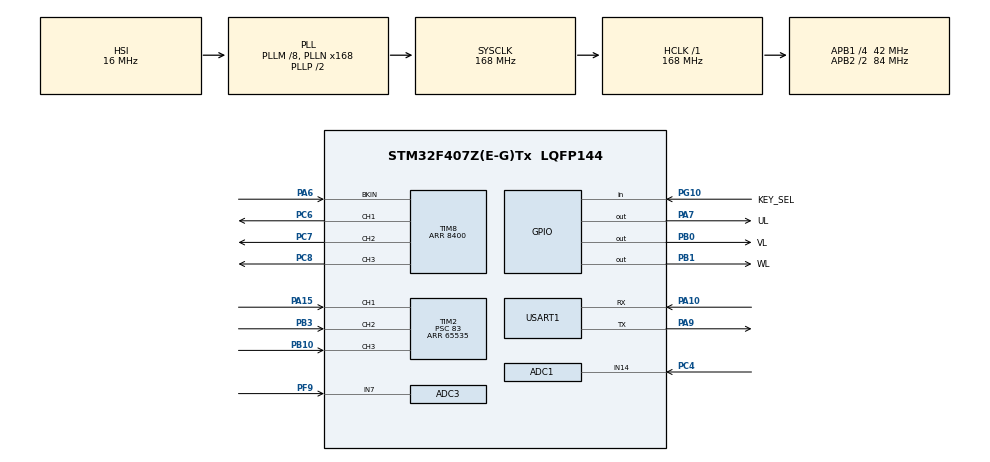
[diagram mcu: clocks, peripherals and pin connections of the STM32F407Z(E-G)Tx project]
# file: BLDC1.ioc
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ADC1.Channel-0\#ChannelRegularConversion=ADC_CHANNEL_14
ADC1.DMAContinuousRequests=ENABLE
ADC1.NbrOfConversionFlag=1
ADC1.Rank-0\#ChannelRegularConversion=1
ADC1.SamplingTime-0\#ChannelRegularConversion=ADC_SAMPLETIME_3CYCLES
ADC1.master=1
ADC3.Channel-0\#ChannelRegularConversion=ADC_CHANNEL_7
ADC3.DMAContinuousRequests=ENABLE
ADC3.NbrOfConversionFlag=1
ADC3.Rank-0\#ChannelRegularConversion=1
ADC3.SamplingTime-0\#ChannelRegularConversion=ADC_SAMPLETIME_3CYCLES
Dma.ADC1.1.Direction=DMA_PERIPH_TO_MEMORY
Dma.ADC1.1.FIFOMode=DMA_FIFOMODE_DISABLE
Dma.ADC1.1.Instance=DMA2_Stream0
Dma.ADC1.1.MemDataAlignment=DMA_MDATAALIGN_HALFWORD
Dma.ADC1.1.MemInc=DMA_MINC_ENABLE
Dma.ADC1.1.Mode=DMA_CIRCULAR
Dma.ADC1.1.PeriphDataAlignment=DMA_PDATAALIGN_HALFWORD
Dma.ADC1.1.PeriphInc=DMA_PINC_DISABLE
Dma.ADC1.1.Priority=DMA_PRIORITY_HIGH
Dma.ADC3.0.Direction=DMA_PERIPH_TO_MEMORY
Dma.ADC3.0.FIFOMode=DMA_FIFOMODE_DISABLE
Dma.ADC3.0.Instance=DMA2_Stream1
Dma.ADC3.0.MemDataAlignment=DMA_MDATAALIGN_HALFWORD
Dma.ADC3.0.MemInc=DMA_MINC_ENABLE
Dma.ADC3.0.Mode=DMA_CIRCULAR
Dma.ADC3.0.PeriphDataAlignment=DMA_PDATAALIGN_HALFWORD
Dma.ADC3.0.PeriphInc=DMA_PINC_DISABLE
Dma.ADC3.0.Priority=DMA_PRIORITY_HIGH
Dma.Request0=ADC3
Dma.Request1=ADC1
Mcu.Family=STM32F4
Mcu.Name=STM32F407Z(E-G)Tx
Mcu.Package=LQFP144
NVIC.DMA2_Stream0_IRQn=true\:0\:0\:false\:false\:true\:false\:true\:true
NVIC.DMA2_Stream1_IRQn=true\:0\:0\:false\:false\:true\:false\:true\:true
NVIC.EXTI15_10_IRQn=true\:0\:0\:false\:false\:true\:true\:true\:true
NVIC.PriorityGroup=NVIC_PRIORITYGROUP_4
NVIC.TIM2_IRQn=true\:0\:0\:false\:false\:true\:true\:true\:true
NVIC.TIM3_IRQn=true\:0\:0\:false\:false\:true\:true\:true\:true
NVIC.TIM8_BRK_TIM12_IRQn=true\:0\:0\:false\:false\:true\:true\:true\:true
NVIC.USART1_IRQn=true\:0\:0\:false\:false\:true\:true\:true\:true
PA10.Mode=Asynchronous
PA10.Signal=USART1_RX
PA13.Mode=Serial_Wire
PA13.Signal=SYS_JTMS-SWDIO
PA14.Mode=Serial_Wire
PA14.Signal=SYS_JTCK-SWCLK
PA15.GPIO_Speed=GPIO_SPEED_FREQ_HIGH
PA15.Signal=S_TIM2_CH1_ETR
PA6.Mode=Activate-Break-Input
PA6.Signal=TIM8_BKIN
PA7.GPIO_Label=UL
PA7.GPIO_PuPd=GPIO_PULLUP
PA7.GPIO_Speed=GPIO_SPEED_FREQ_VERY_HIGH
PA7.Signal=GPIO_Output
PA9.Mode=Asynchronous
PA9.Signal=USART1_TX
PB0.GPIO_Label=VL
PB0.GPIO_PuPd=GPIO_PULLUP
PB0.GPIO_Speed=GPIO_SPEED_FREQ_VERY_HIGH
PB0.Signal=GPIO_Output
PB1.GPIO_Label=WL
PB1.GPIO_PuPd=GPIO_PULLUP
PB1.GPIO_Speed=GPIO_SPEED_FREQ_VERY_HIGH
PB1.Signal=GPIO_Output
PB10.GPIO_Speed=GPIO_SPEED_FREQ_HIGH
PB10.Signal=S_TIM2_CH3
PB3.GPIO_Speed=GPIO_SPEED_FREQ_HIGH
PB3.Signal=S_TIM2_CH2
PC4.Signal=ADCx_IN14
PC6.GPIO_Speed=GPIO_SPEED_FREQ_VERY_HIGH
PC6.Signal=S_TIM8_CH1
PC7.GPIO_Speed=GPIO_SPEED_FREQ_VERY_HIGH
PC7.Signal=S_TIM8_CH2
PC8.GPIO_Speed=GPIO_SPEED_FREQ_VERY_HIGH
PC8.Signal=S_TIM8_CH3
PF9.Mode=IN7
PF9.Signal=ADC3_IN7
PG10.GPIO_Label=KEY_SEL
PG10.GPIO_ModeDefaultEXTI=GPIO_MODE_IT_FALLING
PG10.GPIO_PuPd=GPIO_PULLUP
PG10.Signal=SharedStack_PG10
PG10.Stacked=true
PH0-OSC_IN.Mode=HSE-External-Oscillator
PH0-OSC_IN.Signal=RCC_OSC_IN
PH1-OSC_OUT.Mode=HSE-External-Oscillator
PH1-OSC_OUT.Signal=RCC_OSC_OUT
ProjectManager.HeapSize=0x400
ProjectManager.StackSize=0x600
ProjectManager.TargetToolchain=STM32CubeIDE
RCC.48MHZClocksFreq_Value=84000000
RCC.AHBFreq_Value=168000000
RCC.APB1CLKDivider=RCC_HCLK_DIV4
RCC.APB1Freq_Value=42000000
RCC.APB1TimFreq_Value=84000000
RCC.APB2CLKDivider=RCC_HCLK_DIV2
RCC.APB2Freq_Value=84000000
RCC.APB2TimFreq_Value=168000000
RCC.CortexFreq_Value=168000000
RCC.HCLKFreq_Value=168000000
RCC.HSE_VALUE=25000000
RCC.HSI_VALUE=16000000
RCC.LSE_VALUE=32768
RCC.PLLM=8
RCC.PLLN=168
RCC.SYSCLKFreq_VALUE=168000000
RCC.SYSCLKSource=RCC_SYSCLKSOURCE_PLLCLK
RCC.VCOOutputFreq_Value=336000000
SH.ADCx_IN14.0=ADC1_IN14,IN14
SH.S_TIM2_CH1_ETR.0=TIM2_CH1,Input_Capture1_from_TI1
SH.S_TIM2_CH2.0=TIM2_CH2,Input_Capture2_from_TI2
SH.S_TIM2_CH3.0=TIM2_CH3,Input_Capture3_from_TI3
SH.S_TIM8_CH1.0=TIM8_CH1,PWM Generation1 CH1
SH.S_TIM8_CH2.0=TIM8_CH2,PWM Generation2 CH2
SH.S_TIM8_CH3.0=TIM8_CH3,PWM Generation3 CH3
SH.SharedStack_PG10.0=GPIO_Input+0
SH.SharedStack_PG10.1=GPIO_EXTI10
TIM2.AutoReloadPreload=TIM_AUTORELOAD_PRELOAD_ENABLE
TIM2.Channel-Input_Capture1_from_TI1=TIM_CHANNEL_1
TIM2.Channel-Input_Capture2_from_TI2=TIM_CHANNEL_2
TIM2.Channel-Input_Capture3_from_TI3=TIM_CHANNEL_3
TIM2.ICPolarity_CH1=TIM_INPUTCHANNELPOLARITY_BOTHEDGE
TIM2.ICPolarity_CH2=TIM_INPUTCHANNELPOLARITY_BOTHEDGE
TIM2.ICPolarity_CH3=TIM_INPUTCHANNELPOLARITY_BOTHEDGE
TIM2.Period=65535
TIM2.Prescaler=83
TIM3.AutoReloadPreload=TIM_AUTORELOAD_PRELOAD_ENABLE
TIM3.Period=999
TIM3.Prescaler=83
TIM8.AutoReloadPreload=TIM_AUTORELOAD_PRELOAD_ENABLE
TIM8.BreakPolarity=TIM_BREAKPOLARITY_LOW
TIM8.Channel-PWM\ Generation1\ CH1=TIM_CHANNEL_1
TIM8.Channel-PWM\ Generation2\ CH2=TIM_CHANNEL_2
TIM8.Channel-PWM\ Generation3\ CH3=TIM_CHANNEL_3
TIM8.OffStateRunMode=TIM_OSSR_ENABLE
TIM8.Period=8400
USART1.VirtualMode=VM_ASYNC
VP_TIM2_VS_ClockSourceINT.Mode=Internal
VP_TIM2_VS_XOR.Mode=XOR_enable
VP_TIM3_VS_ClockSourceINT.Mode=Internal
VP_TIM8_VS_ClockSourceINT.Mode=Internal
board=custom

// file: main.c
/* USER CODE BEGIN Header */
/**
  ******************************************************************************
  * @file           : main.c
  * @brief          : Main program body
  ******************************************************************************
  * @attention
  *
  * <h2><center>&copy; Copyright (c) 2022 STMicroelectronics.
  * All rights reserved.</center></h2>
  *
  * This software component is licensed by ST under BSD 3-Clause license,
  * the "License"; You may not use this file except in compliance with the
  * License. You may obtain a copy of the License at:
  *                        opensource.org/licenses/BSD-3-Clause
  *
  ******************************************************************************
  */
/* USER CODE END Header */

#include "main.h"
#include "adc.h"
#include "dma.h"
#include "tim.h"
#include "usart.h"
#include "gpio.h"

/* USER CODE BEGIN Includes */
#include "stm32_2.8_lcd.h"
/* USER CODE END Includes */

/* USER CODE BEGIN PD */
#define GPIO_OUT1_ON HAL_GPIO_WritePin(UL_GPIO_Port,UL_Pin,GPIO_PIN_SET)
#define GPIO_OUT2_ON HAL_GPIO_WritePin(VL_GPIO_Port,VL_Pin,GPIO_PIN_SET)
#define GPIO_OUT3_ON HAL_GPIO_WritePin(WL_GPIO_Port,WL_Pin,GPIO_PIN_SET)

#define GPIO_OUT1_OFF HAL_GPIO_WritePin(UL_GPIO_Port,UL_Pin,GPIO_PIN_RESET)
#define GPIO_OUT2_OFF HAL_GPIO_WritePin(VL_GPIO_Port,VL_Pin,GPIO_PIN_RESET)
#define GPIO_OUT3_OFF HAL_GPIO_WritePin(WL_GPIO_Port,WL_Pin,GPIO_PIN_RESET)

#define TIM8_CH1_ON HAL_TIM_PWM_Start(&htim8,TIM_CHANNEL_1)
#define TIM8_CH2_ON HAL_TIM_PWM_Start(&htim8,TIM_CHANNEL_2)
#define TIM8_CH3_ON HAL_TIM_PWM_Start(&htim8,TIM_CHANNEL_3)

#define TIM8_CH1_OFF HAL_TIM_PWM_Stop(&htim8,TIM_CHANNEL_1)
#define TIM8_CH2_OFF HAL_TIM_PWM_Stop(&htim8,TIM_CHANNEL_2)
#define TIM8_CH3_OFF HAL_TIM_PWM_Stop(&htim8,TIM_CHANNEL_3)
/* USER CODE END PD */

/* USER CODE BEGIN PV */

int cPeriod = 0;
int hall_a = 0;
int hall_b = 0;
int hall_c = 0;
int mode = 0;
float speed = 0;
float angle = 0;
int sel_mode = 0;

/* USER CODE END PV */

void SystemClock_Config(void);

int main(void)
{

  /* MCU Configuration--------------------------------------------------------*/

  /* Reset of all peripherals, Initializes the Flash interface and the Systick. */
  HAL_Init();

  /* Configure the system clock */
  SystemClock_Config();

  /* Initialize all configured peripherals */
  MX_GPIO_Init();
  MX_DMA_Init();
  MX_ADC1_Init();
  MX_ADC3_Init();
  MX_TIM2_Init();
  MX_TIM3_Init();
  MX_TIM8_Init();
  MX_USART1_UART_Init();
  /* USER CODE BEGIN 2 */
	__HAL_TIM_ENABLE_IT(&htim8, TIM_IT_BREAK);
	HAL_TIM_Base_Start_IT(&htim3);
	HAL_TIM_IC_Start_IT(&htim2, TIM_CHANNEL_1);
	HAL_TIM_IC_Start_IT(&htim2, TIM_CHANNEL_2);
	HAL_TIM_IC_Start_IT(&htim2, TIM_CHANNEL_3);
	TIM8_CH1_ON;
	TIM8_CH2_ON;
	TIM8_CH3_ON;

	STM32_LCD_Init();
	LCD_Clear(BackColor);
	LCD_SetTextColor(Blue);
	LCD_DisplayStringLine(1,(u8 *)"BLDC off:");

	uint32_t vBuf[1] = {0};
	uint32_t pwmBuf[1] = {0};
	float voltage = 0;

	HAL_ADC_Start_DMA(&hadc3, pwmBuf, 1);
	HAL_ADC_Start_DMA(&hadc1, vBuf, 1);
  /* USER CODE END 2 */

  /* Infinite loop */
  /* USER CODE BEGIN WHILE */
  while (1)
  {
	  if(sel_mode){
				if(mode == 0)
				{
					HAL_TIM_IC_CaptureCallback(&htim2);
					HAL_Delay(4);
					HAL_TIM_IC_CaptureCallback(&htim2);
					mode = 1;
				}

				HAL_ADC_Start_DMA(&hadc3, pwmBuf, 1);
				__HAL_TIM_SetCompare(&htim8, TIM_CHANNEL_1, pwmBuf[0]);
				__HAL_TIM_SetCompare(&htim8, TIM_CHANNEL_2, pwmBuf[0]);
				__HAL_TIM_SetCompare(&htim8, TIM_CHANNEL_3, pwmBuf[0]);

				HAL_Delay(50);

				HAL_ADC_Start_DMA(&hadc1, vBuf, 1);
				voltage = (int)vBuf[0]/7.32;

				HAL_Delay(100);

				LCD_SetTextColor(Blue);
				LCD_ClearLine(1);
				LCD_DisplayStringLine(2,(u8 *)"BLDC speed:");
				LCD_Draw_NUM(70,300,(int)speed);

				LCD_DisplayStringLine(5,(u8 *)"PWM:");
				LCD_Draw_NUM(70+70,300,(int)pwmBuf[0]);
				LCD_Draw_NUM(0,300,(int)pwmBuf[0]/4095.0*100);
				LCD_DisplayStringLine(7,(u8 *)"Voltage:");
				LCD_Draw_NUM(70+70+70,300,voltage);

		}
		else
		{
			LCD_ClearLine(1);
			LCD_DisplayStringLine(1,(u8 *)"BLDC off:");
			TIM8_CH1_OFF;
			TIM8_CH2_OFF;
			TIM8_CH3_OFF;
			GPIO_OUT1_OFF;
			GPIO_OUT2_OFF;
			GPIO_OUT3_OFF;
			mode = 0;
		}
    /* USER CODE END WHILE */

  }
}

void SystemClock_Config(void)
{
  RCC_OscInitTypeDef RCC_OscInitStruct = {0};
  RCC_ClkInitTypeDef RCC_ClkInitStruct = {0};

  /** Configure the main internal regulator output voltage
  */
  __HAL_RCC_PWR_CLK_ENABLE();
  __HAL_PWR_VOLTAGESCALING_CONFIG(PWR_REGULATOR_VOLTAGE_SCALE1);
  /** Initializes the CPU, AHB and APB busses clocks
  */
  RCC_OscInitStruct.OscillatorType = RCC_OSCILLATORTYPE_HSI;
  RCC_OscInitStruct.HSIState = RCC_HSI_ON;
  RCC_OscInitStruct.HSICalibrationValue = RCC_HSICALIBRATION_DEFAULT;
  RCC_OscInitStruct.PLL.PLLState = RCC_PLL_ON;
  RCC_OscInitStruct.PLL.PLLSource = RCC_PLLSOURCE_HSI;
  RCC_OscInitStruct.PLL.PLLM = 8;
  RCC_OscInitStruct.PLL.PLLN = 168;
  RCC_OscInitStruct.PLL.PLLP = RCC_PLLP_DIV2;
  RCC_OscInitStruct.PLL.PLLQ = 4;
  if (HAL_RCC_OscConfig(&RCC_OscInitStruct) != HAL_OK)
  {
    Error_Handler();
  }
  /** Initializes the CPU, AHB and APB busses clocks
  */
  RCC_ClkInitStruct.ClockType = RCC_CLOCKTYPE_HCLK|RCC_CLOCKTYPE_SYSCLK
                              |RCC_CLOCKTYPE_PCLK1|RCC_CLOCKTYPE_PCLK2;
  RCC_ClkInitStruct.SYSCLKSource = RCC_SYSCLKSOURCE_PLLCLK;
  RCC_ClkInitStruct.AHBCLKDivider = RCC_SYSCLK_DIV1;
  RCC_ClkInitStruct.APB1CLKDivider = RCC_HCLK_DIV4;
  RCC_ClkInitStruct.APB2CLKDivider = RCC_HCLK_DIV2;

  if (HAL_RCC_ClockConfig(&RCC_ClkInitStruct, FLASH_LATENCY_5) != HAL_OK)
  {
    Error_Handler();
  }
}

/* USER CODE BEGIN 4 */
void HAL_TIM_PeriodElapsedCallback(TIM_HandleTypeDef *htim)
{
	if(TIM3==htim->Instance)
	cPeriod++;
}

void HAL_TIM_IC_CaptureCallback(TIM_HandleTypeDef *htim)
{
	if (!sel_mode){
		return;
	}
	else{
		if(TIM2==htim->Instance)
		{
			if(HAL_GPIO_ReadPin(GPIOA,GPIO_PIN_15)==GPIO_PIN_SET) hall_a = 1;
			else hall_a = 0;
			if(HAL_GPIO_ReadPin(GPIOB,GPIO_PIN_3)==GPIO_PIN_SET) hall_b = 1;
			else hall_b = 0;
			if(HAL_GPIO_ReadPin(GPIOB,GPIO_PIN_10)==GPIO_PIN_SET) hall_c = 1;
			else hall_c = 0;

			if(hall_a==1 && hall_b==0 && hall_c==1)
			{
				TIM8_CH1_ON;
				TIM8_CH2_OFF;
				TIM8_CH3_OFF;
				GPIO_OUT1_OFF;
				GPIO_OUT2_ON;
				GPIO_OUT3_OFF;
			}
			else if(hall_a==1 && hall_b==0 && hall_c==0)
			{
				TIM8_CH1_ON;
				TIM8_CH2_OFF;
				TIM8_CH3_OFF;
				GPIO_OUT1_OFF;
				GPIO_OUT2_OFF;
				GPIO_OUT3_ON;
			}
			else if(hall_a==1 && hall_b==1 && hall_c==0)
			{
				TIM8_CH1_OFF;
				TIM8_CH2_ON;
				TIM8_CH3_OFF;
				GPIO_OUT1_OFF;
				GPIO_OUT2_OFF;
				GPIO_OUT3_ON;
			}
			else if(hall_a==0 && hall_b==1 && hall_c==0)
			{
				TIM8_CH1_OFF;
				TIM8_CH2_ON;
				TIM8_CH3_OFF;
				GPIO_OUT1_ON;
				GPIO_OUT2_OFF;
				GPIO_OUT3_OFF;
			}
			else if(hall_a==0 && hall_b==1 && hall_c==1)
			{
				TIM8_CH1_OFF;
				TIM8_CH2_OFF;
				TIM8_CH3_ON;
				GPIO_OUT1_ON;
				GPIO_OUT2_OFF;
				GPIO_OUT3_OFF;
			}
			else if(hall_a==0 && hall_b==0 && hall_c==1)
			{
				TIM8_CH1_OFF;
				TIM8_CH2_OFF;
				TIM8_CH3_ON;
				GPIO_OUT1_OFF;
				GPIO_OUT2_ON;
				GPIO_OUT3_OFF;
			}
			else{
				return;
			}
			angle += 60;
			if(cPeriod >= 50){
				speed = angle/(cPeriod*0.001)/360/3;
				cPeriod = 0;
				angle = 0;
			}

		}
	}
}

void HAL_GPIO_EXTI_Callback(uint16_t GPIO_Pin){
	int i=0;
	if(HAL_GPIO_ReadPin(KEY_SEL_GPIO_Port,KEY_SEL_Pin)==GPIO_PIN_RESET)
			{
		for(i=0;i<10000;i++){}
				if(HAL_GPIO_ReadPin(KEY_SEL_GPIO_Port,KEY_SEL_Pin)==GPIO_PIN_RESET){
					sel_mode = 1;
					return;
				}
			}
	sel_mode = 0;

}

void HAL_TIMEx_BreakCallback(TIM_HandleTypeDef* htim)
{
	if(htim->Instance==TIM8)
	{
		TIM8_CH1_OFF;
		TIM8_CH2_OFF;
		TIM8_CH3_OFF;
		GPIO_OUT1_OFF;
		GPIO_OUT2_OFF;
		GPIO_OUT3_OFF;
		__HAL_TIM_DISABLE_IT(&htim8, TIM_IT_BREAK);
	}
}
/* USER CODE END 4 */

void Error_Handler(void)
{
}

/************************ (C) COPYRIGHT STMicroelectronics *****END OF FILE****/
